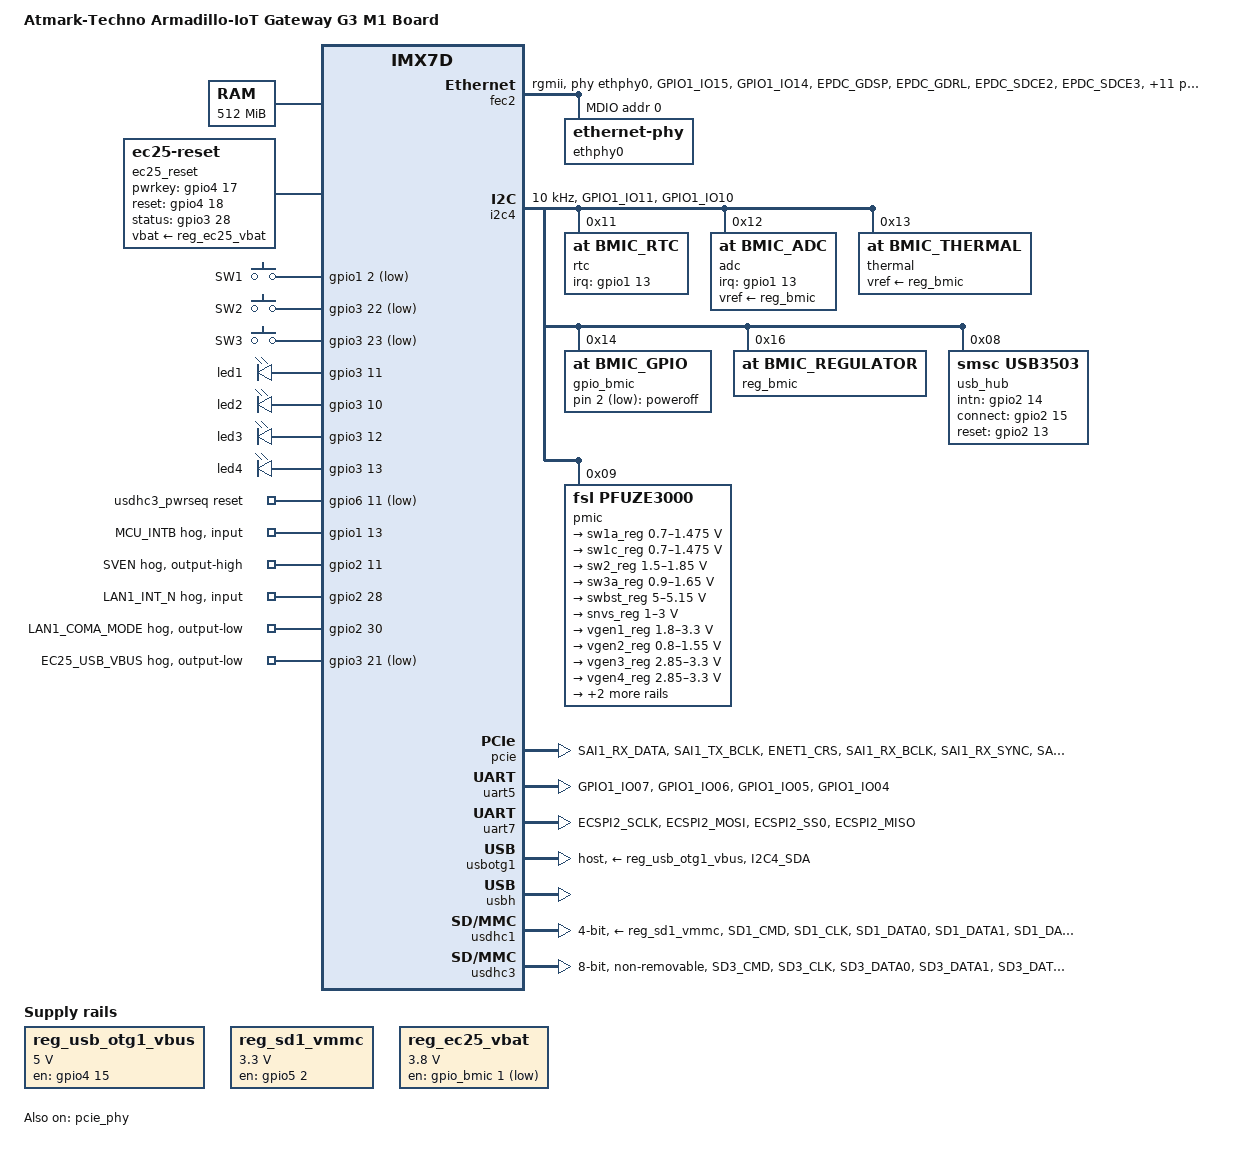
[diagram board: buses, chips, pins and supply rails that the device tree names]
/*
 * Copyright (C) 2018 Atmark Techno, Inc. All Rights Reserved.
 *
 * This file is dual-licensed: you can use it either under the terms
 * of the GPL or the X11 license, at your option. Note that this dual
 * licensing only applies to this file, and not this project as a
 * whole.
 *
 *  a) This file is free software; you can redistribute it and/or
 *     modify it under the terms of the GNU General Public License as
 *     published by the Free Software Foundation; either version 2 of the
 *     License, or (at your option) any later version.
 *
 *     This file is distributed in the hope that it will be useful,
 *     but WITHOUT ANY WARRANTY; without even the implied warranty of
 *     MERCHANTABILITY or FITNESS FOR A PARTICULAR PURPOSE.  See the
 *     GNU General Public License for more details.
 *
 * Or, alternatively,
 *
 *  b) Permission is hereby granted, free of charge, to any person
 *     obtaining a copy of this software and associated documentation
 *     files (the "Software"), to deal in the Software without
 *     restriction, including without limitation the rights to use,
 *     copy, modify, merge, publish, distribute, sublicense, and/or
 *     sell copies of the Software, and to permit persons to whom the
 *     Software is furnished to do so, subject to the following
 *     conditions:
 *
 *     The above copyright notice and this permission notice shall be
 *     included in all copies or substantial portions of the Software.
 *
 *     THE SOFTWARE IS PROVIDED "AS IS", WITHOUT WARRANTY OF ANY KIND,
 *     EXPRESS OR IMPLIED, INCLUDING BUT NOT LIMITED TO THE WARRANTIES
 *     OF MERCHANTABILITY, FITNESS FOR A PARTICULAR PURPOSE AND
 *     NONINFRINGEMENT. IN NO EVENT SHALL THE AUTHORS OR COPYRIGHT
 *     HOLDERS BE LIABLE FOR ANY CLAIM, DAMAGES OR OTHER LIABILITY,
 *     WHETHER IN AN ACTION OF CONTRACT, TORT OR OTHERWISE, ARISING
 *     FROM, OUT OF OR IN CONNECTION WITH THE SOFTWARE OR THE USE OR
 *     OTHER DEALINGS IN THE SOFTWARE.
 */

/dts-v1/;

#include "imx7d.dtsi"
#include "armadillo_iotg_addon.dtsi"

/ {
	model = "Atmark-Techno Armadillo-IoT Gateway G3 M1 Board";
	compatible = "at,armadillo-iotg-g3", "fsl,imx7d";

	memory {
		reg = <0x80000000 0x20000000>;
	};

	regulators: regulators0 {
		compatible = "simple-bus";
		#address-cells = <1>;
		#size-cells = <0>;

		reg_usb_otg1_vbus: regulator@0 {
			compatible = "regulator-fixed";
			reg = <0>;
			regulator-name = "USB_OTG1_VBUS";
			regulator-min-microvolt = <5000000>;
			regulator-max-microvolt = <5000000>;
			gpio = <&gpio4 15 GPIO_ACTIVE_HIGH>;
			enable-active-high;
		};

		reg_sd1_vmmc: regulator-1 {
			compatible = "regulator-fixed";
			regulator-name = "VDD_SD1";
			regulator-min-microvolt = <3300000>;
			regulator-max-microvolt = <3300000>;
			gpio = <&gpio5 2 GPIO_ACTIVE_HIGH>;
			enable-active-high;
			regulator-boot-on;
		};

		reg_ec25_vbat: regulator-2 {
			compatible = "regulator-fixed";
			regulator-name = "EC25_VBAT";
			regulator-min-microvolt = <3800000>;
			regulator-max-microvolt = <3800000>;
			gpio = <&gpio_bmic 1 GPIO_ACTIVE_LOW>;
			off-on-delay = <100000>;
			startup-delay-us = <30000>;
			regulator-boot-on;
		};
	};

	ec25_reset: ec25-reset {
		compatible = "ec25-reset";
		pinctrl-names = "default";
		pinctrl-0 = <&pinctrl_ec25_reset>;
		gpio-pwrkey = <&gpio4 17 GPIO_ACTIVE_HIGH>;
		gpio-reset = <&gpio4 18 GPIO_ACTIVE_HIGH>;
		gpio-status = <&gpio3 28 GPIO_ACTIVE_HIGH>;
		vbat-supply = <&reg_ec25_vbat>;
	};

	gpio-keys {
		compatible = "gpio-keys";
		pinctrl-names = "default";
		pinctrl-0 = <&pinctrl_gpio_keys &pinctrl_lpsr_gpio_keys>;

		sw1 {
			label = "SW1";
			gpios = <&gpio1 2 GPIO_ACTIVE_LOW>;
			linux,code = <KEY_1>;
		};
		sw2 {
			label = "SW2";
			gpios = <&gpio3 22 GPIO_ACTIVE_LOW>;
			linux,code = <KEY_2>;
		};
		sw3 {
			label = "SW3";
			gpios = <&gpio3 23 GPIO_ACTIVE_LOW>;
			linux,code = <KEY_3>;
		};
	};

	gpio-leds {
		compatible = "gpio-leds";
		pinctrl-names = "default";
		pinctrl-0 = <&pinctrl_gpio_leds>;

		LED3 {
			label = "led1";
			gpios = <&gpio3 11 GPIO_ACTIVE_HIGH>;
			linux,default-trigger = "default-on";
		};
		LED2 {
			label = "led2";
			gpios = <&gpio3 10 GPIO_ACTIVE_HIGH>;
			linux,default-trigger = "default-on";
		};
		LED4 {
			label = "led3";
			gpios = <&gpio3 12 GPIO_ACTIVE_HIGH>;
			linux,default-trigger = "none";
		};
		LED5 {
			label = "led4";
			gpios = <&gpio3 13 GPIO_ACTIVE_HIGH>;
			linux,default-trigger = "none";
		};
	};

	usdhc3_pwrseq: pwrseq@0 {
		compatible = "mmc-pwrseq-emmc";
		pinctrl-names = "default";
		pinctrl-0 = <&pinctrl_usdhc3_pwrseq>;
		reset-gpios = <&gpio6 11 GPIO_ACTIVE_LOW>;
	};

	poweroff {
		compatible = "gpio-poweroff";
		gpios = <&gpio_bmic 2 GPIO_ACTIVE_LOW>;
	};

	bcmdhd-configs {
		ccode = "JP"; /* country code from ISO 3166 */
	};
};

&cpu0 {
	arm-supply = <&sw1a_reg>;
};

&fec2 {
	pinctrl-names = "default";
	pinctrl-0 = <&pinctrl_enet2>;
	assigned-clocks = <&clks IMX7D_ENET2_TIME_ROOT_SRC>,
			  <&clks IMX7D_ENET2_TIME_ROOT_CLK>;
	assigned-clock-parents = <&clks IMX7D_PLL_ENET_MAIN_100M_CLK>;
	assigned-clock-rates = <0>, <100000000>;
	phy-mode = "rgmii";
	phy-handle = <&ethphy0>;
	fsl,magic-packet;
	no-mac-init;
	status = "okay";

	mdio {
		#address-cells = <1>;
		#size-cells = <0>;

		ethphy0: ethernet-phy@0 {
			reg = <0>;
		};
	};
};

&i2c4 {
	clock-frequency = <10000>;
	pinctrl-names = "default";
	pinctrl-0 = <&pinctrl_i2c4>;
	status = "okay";

	rtc: bmic_rtc@11 {
		compatible = "at,bmic_rtc";
		reg = <0x11>;
		irq-gpio = <&gpio1 13 GPIO_ACTIVE_HIGH>;
	};

	adc: bmic_adc@12 {
		compatible = "at,bmic_adc";
		reg = <0x12>;
		vref-supply = <&reg_bmic>;
		irq-gpio = <&gpio1 13 GPIO_ACTIVE_HIGH>;
	};

	thermal: bmic_thermal@13 {
		compatible = "at,bmic_thermal";
		reg = <0x13>;
		vref-supply = <&reg_bmic>;
	};

	gpio_bmic: bmic_gpio@14 {
		compatible = "at,bmic_gpio";
		reg = <0x14>;
		gpio-controller;
		#gpio-cells = <2>;
	};

	reg_bmic: bmic_regulator@16 {
		compatible = "at,bmic_regulator";
		reg = <0x16>;
		regulator-name = "BMIC_VREF";
		regulator-min-microvolt = <1710000>;
		regulator-max-microvolt = <3600000>;
		regulator-boot-on;
		regulator-always-on;
	};

	usb_hub: usb3503@08 {
		compatible = "smsc,usb3503";
		reg = <0x08>;

		clocks = <&clks IMX7D_CLKO2_ROOT_PRE_DIV>;
		clock-names = "refclk";

		refclk-frequency = <24000000>;
		vsns21-squelch = <0x60>;
		intn-gpios = <&gpio2 14 GPIO_ACTIVE_HIGH>;
		connect-gpios = <&gpio2 15 GPIO_ACTIVE_HIGH>;
		reset-gpios = <&gpio2 13 GPIO_ACTIVE_HIGH>;
		initial-mode = <1>;	/* MODE_HUB */
	};

	pmic: pfuze3000@09 {
		compatible = "fsl,pfuze3000";
		reg = <0x09>;

		regulators {
			sw1a_reg: sw1a {
				regulator-min-microvolt = <700000>;
				regulator-max-microvolt = <1475000>;
				regulator-boot-on;
				regulator-always-on;
				regulator-ramp-delay = <6250>;
			};

			/* use sw1c_reg to align with pfuze100/pfuze200 */
			sw1c_reg: sw1b {
				regulator-min-microvolt = <700000>;
				regulator-max-microvolt = <1475000>;
				regulator-boot-on;
				regulator-always-on;
				regulator-ramp-delay = <6250>;
			};

			sw2_reg: sw2 {
				regulator-min-microvolt = <1500000>;
				regulator-max-microvolt = <1850000>;
				regulator-boot-on;
				regulator-always-on;
			};

			sw3a_reg: sw3 {
				regulator-min-microvolt = <900000>;
				regulator-max-microvolt = <1650000>;
				regulator-boot-on;
				regulator-always-on;
			};

			swbst_reg: swbst {
				regulator-min-microvolt = <5000000>;
				regulator-max-microvolt = <5150000>;
			};

			snvs_reg: vsnvs {
				regulator-min-microvolt = <1000000>;
				regulator-max-microvolt = <3000000>;
				regulator-boot-on;
				regulator-always-on;
			};

			vref_reg: vrefddr {
				regulator-boot-on;
				regulator-always-on;
			};

			vgen1_reg: vldo1 {
				regulator-min-microvolt = <1800000>;
				regulator-max-microvolt = <3300000>;
				regulator-always-on;
			};

			vgen2_reg: vldo2 {
				regulator-min-microvolt = <800000>;
				regulator-max-microvolt = <1550000>;
			};

			vgen3_reg: vccsd {
				regulator-min-microvolt = <2850000>;
				regulator-max-microvolt = <3300000>;
				regulator-always-on;
			};

			vgen4_reg: v33 {
				regulator-min-microvolt = <2850000>;
				regulator-max-microvolt = <3300000>;
				regulator-always-on;
			};

			vgen5_reg: vldo3 {
				regulator-min-microvolt = <1800000>;
				regulator-max-microvolt = <3300000>;
				regulator-always-on;
			};

			vgen6_reg: vldo4 {
				regulator-min-microvolt = <1800000>;
				regulator-max-microvolt = <3300000>;
				regulator-always-on;
			};
		};
	};
};

&iomuxc {
	pinctrl-names = "default";
	pinctrl-0 = <&pinctrl_hog>;

	armadillo-iotg-g3 {
		pinctrl_hog: hoggrp {
			fsl,pins = <
				/* USDHC1 */
				MX7D_PAD_GPIO1_IO08__SD1_VSELECT	0x59 /* VSELECT */

				/* EC25-J */
				MX7D_PAD_LCD_DATA16__GPIO3_IO21		0x00 /* GPIO_WWAN_USB_VBUS */

				/* USB3503 */
				MX7D_PAD_EPDC_DATA13__GPIO2_IO13	0x00 /* GPIO_USB_HUB_RESET_N */
				MX7D_PAD_EPDC_DATA14__GPIO2_IO14	0x04 /* GPIO_USB_HUB_INT_N */
				MX7D_PAD_EPDC_DATA15__GPIO2_IO15	0x00 /* GPIO_USB_HUB_CON */

				/* MCU */
				MX7D_PAD_GPIO1_IO13__GPIO1_IO13		0x40000000 /* MCU_INTB */
			>;
		};

		pinctrl_enet2: enet2grp {
			fsl,pins = <
				MX7D_PAD_GPIO1_IO15__ENET2_MDC		0x3
				MX7D_PAD_GPIO1_IO14__ENET2_MDIO		0x3

				MX7D_PAD_EPDC_GDSP__ENET2_RGMII_TXC		0x1
				MX7D_PAD_EPDC_GDRL__ENET2_RGMII_TX_CTL		0x1
				MX7D_PAD_EPDC_SDCE2__ENET2_RGMII_TD0		0x1
				MX7D_PAD_EPDC_SDCE3__ENET2_RGMII_TD1		0x1
				MX7D_PAD_EPDC_GDCLK__ENET2_RGMII_TD2		0x1
				MX7D_PAD_EPDC_GDOE__ENET2_RGMII_TD3		0x1

				MX7D_PAD_EPDC_SDCE1__ENET2_RGMII_RXC		0x1
				MX7D_PAD_EPDC_SDCE0__ENET2_RGMII_RX_CTL		0x1
				MX7D_PAD_EPDC_SDCLK__ENET2_RGMII_RD0		0x1
				MX7D_PAD_EPDC_SDLE__ENET2_RGMII_RD1		0x1
				MX7D_PAD_EPDC_SDOE__ENET2_RGMII_RD2		0x1
				MX7D_PAD_EPDC_SDSHR__ENET2_RGMII_RD3		0x1
				MX7D_PAD_EPDC_BDR1__GPIO2_IO29 0x00 /* GPIO_LAN1_RST_N */
				MX7D_PAD_EPDC_BDR0__GPIO2_IO28 0x00 /* GPIO_LAN1_INT_N */
				MX7D_PAD_EPDC_PWR_COM__GPIO2_IO30 0x00 /* GPIO_LAN1_COMA_MODE */
			>;
		};

		pinctrl_usbotg1: usbotg1grp {
			fsl,pins = <
				MX7D_PAD_I2C4_SDA__GPIO4_IO15 0x00
			>;
		};

		pinctrl_usdhc1: usdhc1grp {
			fsl,pins = <
				MX7D_PAD_SD1_CMD__SD1_CMD	0x0a
				MX7D_PAD_SD1_CLK__SD1_CLK	0x0a
				MX7D_PAD_SD1_DATA0__SD1_DATA0	0x0a
				MX7D_PAD_SD1_DATA1__SD1_DATA1	0x0a
				MX7D_PAD_SD1_DATA2__SD1_DATA2	0x0a
				MX7D_PAD_SD1_DATA3__SD1_DATA3	0x0a
				MX7D_PAD_SD1_CD_B__GPIO5_IO0	0x00
				MX7D_PAD_SD1_WP__GPIO5_IO1	0x00
				MX7D_PAD_SD1_RESET_B__GPIO5_IO2	0x00
			>;
		};

		pinctrl_usdhc1_100mhz: usdhc1grp_100mhz {
			fsl,pins = <
				MX7D_PAD_SD1_CMD__SD1_CMD	0x09
				MX7D_PAD_SD1_CLK__SD1_CLK	0x0a
				MX7D_PAD_SD1_DATA0__SD1_DATA0	0x09
				MX7D_PAD_SD1_DATA1__SD1_DATA1	0x09
				MX7D_PAD_SD1_DATA2__SD1_DATA2	0x09
				MX7D_PAD_SD1_DATA3__SD1_DATA3	0x09
			>;
		};

		pinctrl_usdhc1_200mhz: usdhc1grp_200mhz {
			fsl,pins = <
				MX7D_PAD_SD1_CMD__SD1_CMD	0x0b
				MX7D_PAD_SD1_CLK__SD1_CLK	0x09
				MX7D_PAD_SD1_DATA0__SD1_DATA0	0x0b
				MX7D_PAD_SD1_DATA1__SD1_DATA1	0x0b
				MX7D_PAD_SD1_DATA2__SD1_DATA2	0x0b
				MX7D_PAD_SD1_DATA3__SD1_DATA3	0x0b
			>;
		};

		pinctrl_usdhc1_power_off: usdhc1grp_power_off {
			fsl,pins = <
				MX7D_PAD_SD1_CMD__GPIO5_IO4	0x00
				MX7D_PAD_SD1_DATA0__GPIO5_IO5	0x00
				MX7D_PAD_SD1_DATA1__GPIO5_IO6	0x00
				MX7D_PAD_SD1_DATA2__GPIO5_IO7	0x00
				MX7D_PAD_SD1_DATA3__GPIO5_IO8	0x00
			>;
		};

		pinctrl_usdhc3: usdhc3grp {
			fsl,pins = <
				MX7D_PAD_SD3_CMD__SD3_CMD	0x0a
				MX7D_PAD_SD3_CLK__SD3_CLK	0x0a
				MX7D_PAD_SD3_DATA0__SD3_DATA0	0x0a
				MX7D_PAD_SD3_DATA1__SD3_DATA1	0x0a
				MX7D_PAD_SD3_DATA2__SD3_DATA2	0x0a
				MX7D_PAD_SD3_DATA3__SD3_DATA3	0x0a
				MX7D_PAD_SD3_DATA4__SD3_DATA4	0x0a
				MX7D_PAD_SD3_DATA5__SD3_DATA5	0x0a
				MX7D_PAD_SD3_DATA6__SD3_DATA6	0x0a
				MX7D_PAD_SD3_DATA7__SD3_DATA7	0x0a
				MX7D_PAD_SD3_STROBE__SD3_STROBE	0x0a
			>;
		};

		pinctrl_usdhc3_pwrseq: pwrseq-usdhc3grp {
			fsl,pins = <
				MX7D_PAD_SD3_RESET_B__GPIO6_IO11	0x4000000a
			>;
		};

		pinctrl_gpio_keys: gpio_keysgrp {
			fsl,pins = <
				MX7D_PAD_LCD_DATA17__GPIO3_IO22	0x00 /* SW2 */
				MX7D_PAD_LCD_DATA18__GPIO3_IO23	0x00 /* SW3 */
			>;
		};

		pinctrl_gpio_leds: gpio_ledsgrp {
			fsl,pins = <
				MX7D_PAD_LCD_DATA05__GPIO3_IO10	0x00
				MX7D_PAD_LCD_DATA06__GPIO3_IO11	0x00
				MX7D_PAD_LCD_DATA07__GPIO3_IO12	0x00
				MX7D_PAD_LCD_DATA08__GPIO3_IO13	0x00
			>;
		};

		pinctrl_i2c4: i2c4grp {
			fsl,pins = <
				MX7D_PAD_GPIO1_IO11__I2C4_SDA	0x4000007f
				MX7D_PAD_GPIO1_IO10__I2C4_SCL	0x4000007f
			>;
		};

		pinctrl_pcie: pciegrp {
			fsl,pins = <
				MX7D_PAD_SAI1_RX_DATA__GPIO6_IO12	0x00 /* PCI_WLAN_RESET# */
				MX7D_PAD_SAI1_TX_BCLK__GPIO6_IO13	0x00 /* PCI_WLAN_DISABLE# */
				MX7D_PAD_ENET1_CRS__GPIO7_IO14		0x00 /* GPIO_PCIE_PWREN */
				MX7D_PAD_SAI1_RX_BCLK__GPIO6_IO17	0x00 /* GPIO_PCI_CLKREQ# */
				MX7D_PAD_SAI1_RX_SYNC__GPIO6_IO16	0x10 /* GPIO_PCI_COEX2 */
				MX7D_PAD_SAI1_TX_DATA__GPIO6_IO15	0x10 /* GPIO_PCI_COEX1 */
				MX7D_PAD_SAI1_TX_SYNC__GPIO6_IO14	0x00 /* GPIO_PCI_WAKE# */
			>;
		};

		pinctrl_uart7: uart7grp {
			fsl,pins = <
				MX7D_PAD_ECSPI2_SCLK__UART7_DCE_RX	0x70
				MX7D_PAD_ECSPI2_MOSI__UART7_DCE_TX	0x00
				MX7D_PAD_ECSPI2_SS0__UART7_DCE_CTS	0x00
				MX7D_PAD_ECSPI2_MISO__UART7_DCE_RTS	0x10
			>;
		};

		pinctrl_ec25_reset: ec25_resetgrp {
			fsl,pins = <
				MX7D_PAD_ECSPI1_MOSI__GPIO4_IO17	0x00
				MX7D_PAD_ECSPI1_MISO__GPIO4_IO18	0x00
				MX7D_PAD_LCD_DATA23__GPIO3_IO28		0x40000000
			>;
		};
	};
};

&iomuxc_lpsr {
	pinctrl-names = "default";
	pinctrl-0 = <&pinctrl_hog_2>;

	armadillo-iotg-g3 {
		pinctrl_hog_2: hoggrp-2 {
			fsl,pins = <
				MX7D_PAD_GPIO1_IO00__WDOD1_WDOG_B	0x74
				MX7D_PAD_GPIO1_IO03__CCM_CLKO2		0x0a /* USB_HUB_REFCLK */
			>;
		};

		pinctrl_lpsr_uart5: lpsr_uart5grp {
			fsl,pins = <
				MX7D_PAD_GPIO1_IO07__UART5_DCE_TX	0x00
				MX7D_PAD_GPIO1_IO06__UART5_DCE_RX	0x79
				MX7D_PAD_GPIO1_IO05__UART5_DCE_RTS	0x79
				MX7D_PAD_GPIO1_IO04__UART5_DCE_CTS	0x00
			>;
		};

		pinctrl_lpsr_gpio_keys: lpsr_gpio_keysgrp {
			fsl,pins = <
				MX7D_PAD_GPIO1_IO02__GPIO1_IO2	0x00 /* SW1 */
			>;
		};
	};
};

&pcie_phy{
	status = "okay";
};

&pcie {
	pinctrl-names = "default";
	pinctrl-0 = <&pinctrl_pcie>;

	reset-gpio = <&gpio6 12 GPIO_ACTIVE_LOW>;
	disable-gpio = <&gpio6 13 GPIO_ACTIVE_LOW>;
	disable-gpio-open-drain;
	power-on-gpio = <&gpio7 14 GPIO_ACTIVE_HIGH>;
	clkreq-gpio = <&gpio6 17 GPIO_ACTIVE_HIGH>;
	wake-gpio = <&gpio6 14 GPIO_ACTIVE_HIGH>;
	status = "okay";
};

&uart5 {
	pinctrl-names = "default";
	pinctrl-0 = <&pinctrl_lpsr_uart5>;
	assigned-clocks = <&clks IMX7D_UART5_ROOT_SRC>;
	assigned-clock-parents = <&clks IMX7D_PLL_SYS_MAIN_240M_CLK>;
	status = "okay";
};

&uart7 {
	pinctrl-names = "default";
	pinctrl-0 = <&pinctrl_uart7>;
	assigned-clocks = <&clks IMX7D_UART7_ROOT_SRC>;
	assigned-clock-parents = <&clks IMX7D_OSC_24M_CLK>;
	fsl,uart-has-rtscts;
	status = "okay";
};

&usbotg1 {
	pinctrl-names = "default";
	pinctrl-0 = <&pinctrl_usbotg1>;
	vbus-supply = <&reg_usb_otg1_vbus>;
	dr_mode = "host";
	status = "okay";
};

&usbh {
	status = "okay";
};

&usdhc1 {
	pinctrl-names = "default", "state_100mhz", "state_200mhz",
			"state_power_off";
	pinctrl-0 = <&pinctrl_usdhc1>;
	pinctrl-1 = <&pinctrl_usdhc1_100mhz>;
	pinctrl-2 = <&pinctrl_usdhc1_200mhz>;
	pinctrl-3 = <&pinctrl_usdhc1_power_off>;
	cd-gpios = <&gpio5 0 GPIO_ACTIVE_LOW>;
	wp-gpios = <&gpio5 1 GPIO_ACTIVE_HIGH>;
	pinctrl-assert-gpios = <&gpio5 4 GPIO_ACTIVE_LOW>,	/* SD1_CMD */
			       <&gpio5 5 GPIO_ACTIVE_LOW>,	/* SD1_DATA0 */
			       <&gpio5 6 GPIO_ACTIVE_LOW>,	/* SD1_DATA1 */
			       <&gpio5 7 GPIO_ACTIVE_LOW>,	/* SD1_DATA2 */
			       <&gpio5 8 GPIO_ACTIVE_LOW>;	/* SD1_DATA3 */
	tuning-step = <2>;
	vmmc-supply = <&reg_sd1_vmmc>;
	enable-sdio-wakeup;
	bus-width = <4>;
	keep-power-in-suspend;
	support-clk-limit;
	fsl,no-ddr50-support;
	status = "okay";
};

&usdhc3 {
	pinctrl-names = "default";
	pinctrl-0 = <&pinctrl_usdhc3>;
	assigned-clocks = <&clks IMX7D_USDHC3_ROOT_CLK>;
	assigned-clock-rates = <400000000>;
	bus-width = <8>;
	fsl,tuning-step = <2>;
	non-removable;
	mmc-pwrseq = <&usdhc3_pwrseq>;
	status = "okay";
};

&wdog1 {
	timeout-sec = <10>;
	fsl,ext-reset-output;
};

&gpio1 {
	mcu_intb {
		gpio-hog;
		gpios = <13 GPIO_ACTIVE_HIGH>;
		input;
		line-name = "MCU_INTB";
	};
};

&gpio2 {
	sven {
		gpio-hog;
		gpios = <11 GPIO_ACTIVE_HIGH>;
		output-high;
		line-name = "SVEN";
	};

	lan1_int_n {
		gpio-hog;
		gpios = <28 GPIO_ACTIVE_HIGH>;
		input;
		line-name = "LAN1_INT_N";
	};

	lan1_coma_mode {
		gpio-hog;
		gpios = <30 GPIO_ACTIVE_HIGH>;
		output-low;
		line-name = "LAN1_COMA_MODE";
	};
};

&gpio3 {
	ec25_usb_vbus {
		gpio-hog;
		gpios = <21 GPIO_ACTIVE_LOW>;
		output-low;
		line-name = "EC25_USB_VBUS";
	};
};
